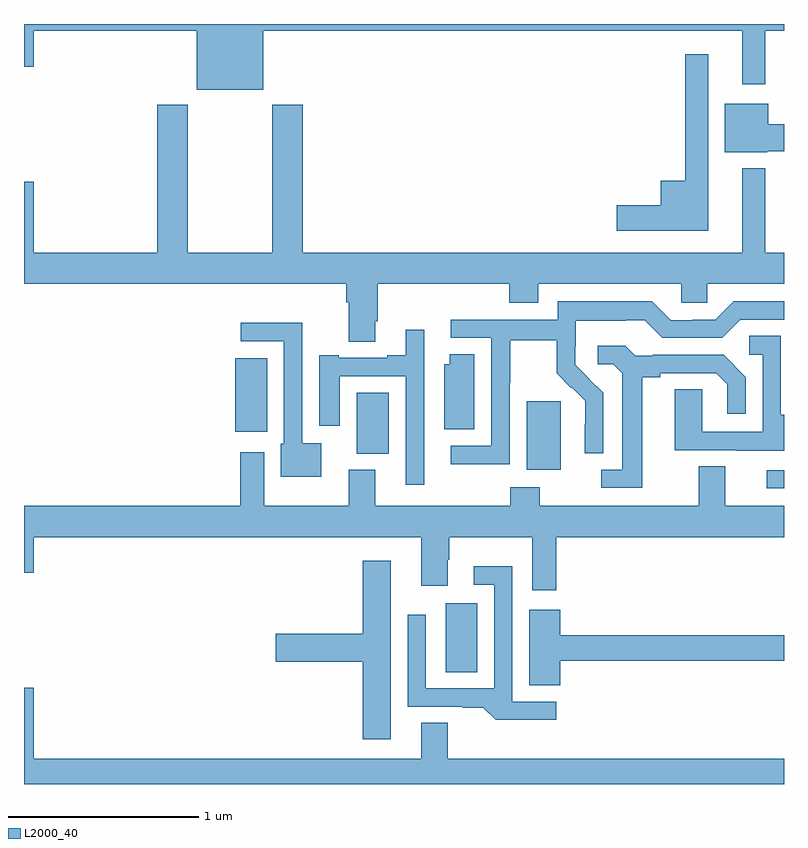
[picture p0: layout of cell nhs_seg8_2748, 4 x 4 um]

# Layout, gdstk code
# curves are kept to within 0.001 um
import gdstk
lib = gdstk.Library(unit=1e-6, precision=1e-09)
def R(c, l, rs):  # rectangles x0, y0, x1, y1
    for r in rs: c.add(gdstk.rectangle(r[:2], r[2:], *l))
def P(c, l, *ps):  # polygons
    for p in ps: c.add(gdstk.Polygon(p, *l))
L2000_40 = (2000, 40)

nhs_seg8_2748 = lib.new_cell('nhs_seg8_2748')
R(nhs_seg8_2748, L2000_40, [(287.219,1082.488,287.386,1082.851), (288.909,1083.456,289,1083.552), (287.645,1083.554,287.824,1083.915), (286.751,1083.638,286.921,1083.958), (286.112,1083.755,286.279,1084.141)])
P(nhs_seg8_2748, L2000_40, [(286.258,1085.864),(288.779,1085.864),(288.779,1085.583),(288.901,1085.583),(288.901,1085.864),(289,1085.864),(289,1085.9),(285,1085.9),(285,1085.676),(285.052,1085.676),(285.052,1085.864),(285.908,1085.864),(285.908,1085.555),(286.258,1085.555)],
  [(288.601,1085.74),(288.48,1085.74),(288.48,1085.074),(288.35,1085.074),(288.35,1084.946),(288.12,1084.946),(288.12,1084.811),(288.601,1084.811)],
  [(288.912,1085.231),(289,1085.231),(289,1085.373),(288.916,1085.373),(288.916,1085.479),(288.689,1085.479),(288.689,1085.225),(288.912,1085.225)],
  [(285,1085.071),(285,1084.532),(286.697,1084.532),(286.697,1084.436),(286.709,1084.436),(286.709,1084.228),(286.849,1084.228),(286.849,1084.336),(286.862,1084.336),(286.862,1084.532),(287.555,1084.532),(287.555,1084.433),(287.707,1084.433),(287.707,1084.532),(288.459,1084.532),(288.459,1084.434),(288.597,1084.434),(288.597,1084.532),(289,1084.532),(289,1084.696),(288.901,1084.696),(288.901,1085.14),(288.779,1085.14),(288.779,1084.696),(286.466,1084.696),(286.466,1085.476),(286.306,1085.476),(286.306,1084.696),(285.861,1084.696),(285.861,1085.476),(285.701,1085.476),(285.701,1084.696),(285.052,1084.696),(285.052,1085.071)],
  [(287.556,1084.012),(287.559,1084.012),(287.559,1084.236),(287.803,1084.236),(287.803,1084.061),(287.88,1083.984),(287.883,1083.987),(287.954,1083.917),(287.954,1083.794),(287.952,1083.794),(287.952,1083.64),(288.048,1083.64),(288.048,1083.958),(287.902,1084.106),(287.902,1084.203),(287.904,1084.203),(287.904,1084.337),(288.167,1084.337),(288.167,1084.341),(288.267,1084.341),(288.36,1084.248),(288.675,1084.248),(288.771,1084.344),(289,1084.344),(289,1084.44),(288.735,1084.44),(288.639,1084.344),(288.521,1084.344),(288.521,1084.341),(288.405,1084.341),(288.305,1084.441),(287.808,1084.441),(287.808,1084.344),(287.247,1084.344),(287.247,1084.248),(287.46,1084.248),(287.46,1083.681),(287.247,1083.681),(287.247,1083.583),(287.556,1083.583)],
  [(286.564,1083.694),(286.464,1083.694),(286.464,1084.328),(286.14,1084.328),(286.14,1084.23),(286.368,1084.23),(286.368,1083.69),(286.352,1083.69),(286.352,1083.518),(286.564,1083.518)],
  [(287.106,1084.291),(287.009,1084.291),(287.009,1084.156),(286.913,1084.156),(286.913,1084.143),(286.657,1084.143),(286.657,1084.156),(286.553,1084.156),(286.553,1083.786),(286.663,1083.786),(286.663,1084.047),(287.01,1084.047),(287.01,1083.474),(287.106,1083.474)],
  [(289,1083.843),(288.984,1083.843),(288.984,1084.259),(288.816,1084.259),(288.816,1084.158),(288.888,1084.158),(288.888,1083.753),(288.57,1083.753),(288.57,1083.977),(288.425,1083.977),(288.425,1083.657),(288.749,1083.657),(288.749,1083.653),(289,1083.653)],
  [(288.253,1084.04),(288.349,1084.04),(288.349,1084.062),(288.644,1084.062),(288.701,1084.005),(288.701,1083.849),(288.798,1083.849),(288.798,1084.042),(288.682,1084.158),(288.31,1084.158),(288.31,1084.155),(288.216,1084.155),(288.164,1084.207),(288.021,1084.207),(288.021,1084.11),(288.102,1084.11),(288.149,1084.063),(288.149,1083.555),(288.039,1083.555),(288.039,1083.459),(288.253,1083.459)],
  [(287.371,1084.163),(287.24,1084.163),(287.24,1084.11),(287.213,1084.11),(287.213,1083.766),(287.371,1083.766)],
  [(287.801,1083.2),(289,1083.2),(289,1083.364),(288.691,1083.364),(288.691,1083.572),(288.551,1083.572),(288.551,1083.364),(287.715,1083.364),(287.715,1083.463),(287.56,1083.463),(287.56,1083.364),(286.849,1083.364),(286.849,1083.553),(286.709,1083.553),(286.709,1083.364),(286.264,1083.364),(286.264,1083.646),(286.139,1083.646),(286.139,1083.364),(285,1083.364),(285,1083.012),(285.052,1083.012),(285.052,1083.2),(287.09,1083.2),(287.09,1082.943),(287.23,1082.943),(287.23,1083.08),(287.238,1083.08),(287.238,1083.2),(287.675,1083.2),(287.675,1082.919),(287.801,1082.919)],
  [(286.93,1083.076),(286.784,1083.076),(286.784,1082.69),(286.326,1082.69),(286.326,1082.543),(286.784,1082.543),(286.784,1082.136),(286.93,1082.136)],
  [(287.8,1082.334),(287.571,1082.334),(287.571,1083.046),(287.367,1083.046),(287.367,1082.949),(287.475,1082.949),(287.475,1082.403),(287.115,1082.403),(287.115,1082.791),(287.019,1082.791),(287.019,1082.307),(287.309,1082.307),(287.309,1082.302),(287.417,1082.302),(287.483,1082.237),(287.8,1082.237)],
  [(287.822,1082.548),(289,1082.548),(289,1082.684),(287.822,1082.684),(287.822,1082.818),(287.66,1082.818),(287.66,1082.419),(287.822,1082.419)],
  [(289,1082.032),(287.23,1082.032),(287.23,1082.222),(287.09,1082.222),(287.09,1082.032),(285.052,1082.032),(285.052,1082.407),(285,1082.407),(285,1081.9),(289,1081.9)])

lib.write_gds('nhs_seg8_2748.gds')
